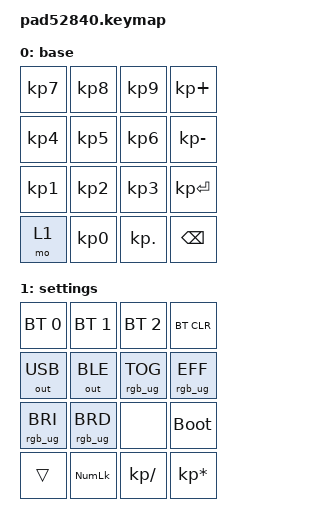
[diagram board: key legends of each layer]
#include <behaviors.dtsi>
#include <dt-bindings/zmk/keys.h>
#include <dt-bindings/zmk/bt.h>
#include <dt-bindings/zmk/outputs.h>
#include <dt-bindings/zmk/rgb.h>

/ {
    keymap {
        compatible = "zmk,keymap";
        base {
            bindings = <
                &kp KP_N7 &kp KP_N8 &kp KP_N9 &kp KP_PLUS
                &kp KP_N4 &kp KP_N5 &kp KP_N6 &kp KP_MINUS
                &kp KP_N1 &kp KP_N2 &kp KP_N3 &kp KP_ENTER
                &mo 1     &kp KP_N0 &kp KP_DOT &kp BSPC
            >;
        };
        settings {
            bindings = <
                &bt BT_SEL 0 &bt BT_SEL 1 &bt BT_SEL 2 &bt BT_CLR
                &out OUT_USB &out OUT_BLE &rgb_ug RGB_TOG &rgb_ug RGB_EFF
                &rgb_ug RGB_BRI &rgb_ug RGB_BRD &none &bootloader
                &trans &kp KP_NUMLOCK &kp KP_DIVIDE &kp KP_MULTIPLY
            >;
        };
    };
};
